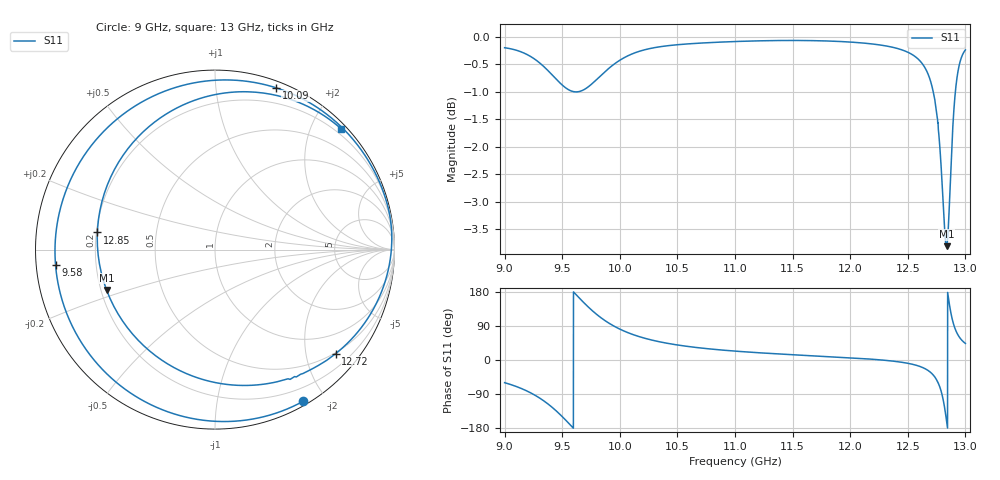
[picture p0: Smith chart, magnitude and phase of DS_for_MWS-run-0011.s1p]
! TOUCHSTONE file generated by CST DESIGN STUDIO
! Date and time: Tue Feb  4 12:44:51 2025
! Project name: C:\Work\MatlabApps\UnitCellOptimizationMatlab\CST\unitcell.cst
! Tree item: Tasks\Sweep1\SPara1\S-Parameters
! Header version: 2024
! Port assignment regex: !\s*Touchstone port\s*([0-9]+)\s*=\s*(CST MWS port|CST DES external port|CST DES block port)\s*(.+)\s* \(\"(.*)\"\)(\s*mode\s*([0-9]+))?.*
! Touchstone port assignment:
! Touchstone port 1 = CST DES external port 1 ("")
# GHz S MA R 50
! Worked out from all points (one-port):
!   4001 points, 9 GHz to 13 GHz, reference 50 ohm
!   lowest |S11| = -3.8 dB at 12.84 GHz (marker M1), VSWR 4.63, Z = 11.1 - j8.58 ohm
!   |S11| at or under -10 dB: nowhere
!   S11 on the Smith chart (normalised r, x): 9 GHz: 0.05, -1.74; 9.58 GHz: 0.06, -0.05; 10.09 GHz: 0.06, +1.44; 12.72 GHz: 0.48, -2.62; 12.85 GHz: 0.20, +0.07; 13 GHz: 0.10, +2.49
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9  0.9774 -59.8
9.154  0.968 -76.3
9.304  0.9468 -100.4
9.405  0.9251 -122.9
9.5  0.9039 -149.3
9.58  0.8926 -174.5
9.671  0.8933 156.4
9.785  0.9115 123.9
9.882  0.9316 101.8
10  0.9521 81.5
10.094  0.9636 69.4
10.273  0.9763 52.9
10.5  0.9836 39.7
11  0.9902 23.5
11.5  0.9924 14.0
12  0.9891 5.8
12.5  0.9683 -8.7
12.644  0.9392 -22.0
12.724  0.8877 -40.7
12.762  0.8353 -59.9
12.794  0.7477 -87.3
12.815  0.6804 -117.6
12.836  0.6447 -159.6
12.849  0.6624 171.7
12.876  0.7689 121.3
12.901  0.8607 90.9
12.946  0.9419 61.1
13  0.9729 43.7
